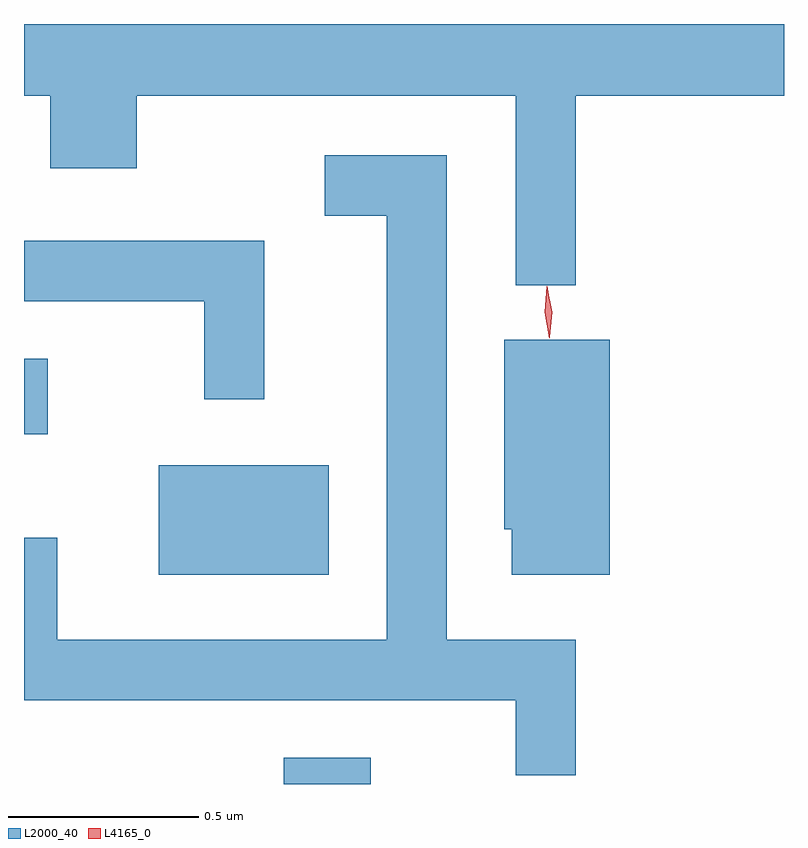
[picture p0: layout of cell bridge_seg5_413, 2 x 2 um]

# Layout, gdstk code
import gdstk
lib = gdstk.Library(unit=1e-6, precision=1e-09)
def R(c, l, rs):  # rectangles x0, y0, x1, y1
    for r in rs: c.add(gdstk.rectangle(r[:2], r[2:], *l))
def P(c, l, *ps):  # polygons
    for p in ps: c.add(gdstk.Polygon(p, *l))
L2000_40 = (2000, 40)
L4165_0 = (4165, 0)

bridge_seg5_413 = lib.new_cell('bridge_seg5_413')
R(bridge_seg5_413, L2000_40, [(530.646,1472.745,530.874,1472.814), (530.316,1473.296,530.764,1473.584), (529.962,1473.666,530.024,1473.864)])
P(bridge_seg5_413, L2000_40, [(531.414,1474.556),(531.962,1474.556),(531.962,1474.745),(529.962,1474.745),(529.962,1474.556),(530.031,1474.556),(530.031,1474.366),(530.259,1474.366),(530.259,1474.556),(531.256,1474.556),(531.256,1474.058),(531.414,1474.058)],
  [(531.414,1473.124),(531.074,1473.124),(531.074,1474.399),(530.753,1474.399),(530.753,1474.241),(530.916,1474.241),(530.916,1473.124),(530.049,1473.124),(530.049,1473.393),(529.962,1473.393),(529.962,1472.966),(531.256,1472.966),(531.256,1472.768),(531.414,1472.768)],
  [(530.594,1474.174),(529.962,1474.174),(529.962,1474.016),(530.436,1474.016),(530.436,1473.758),(530.594,1473.758)],
  [(531.504,1473.914),(531.226,1473.914),(531.226,1473.416),(531.246,1473.416),(531.246,1473.296),(531.504,1473.296)])
P(bridge_seg5_413, L4165_0, [(531.344,1473.918),(531.344,1473.918),(531.332,1473.986),(531.338,1474.055),(531.339,1474.055),(531.339,1474.055),(531.351,1473.987),(531.344,1473.918)],
  [(531.345,1473.92),(531.344,1473.921),(531.332,1473.986),(531.338,1474.051),(531.339,1474.052),(531.339,1474.051),(531.352,1473.987),(531.346,1473.921)])

lib.write_gds('bridge_seg5_413.gds')
